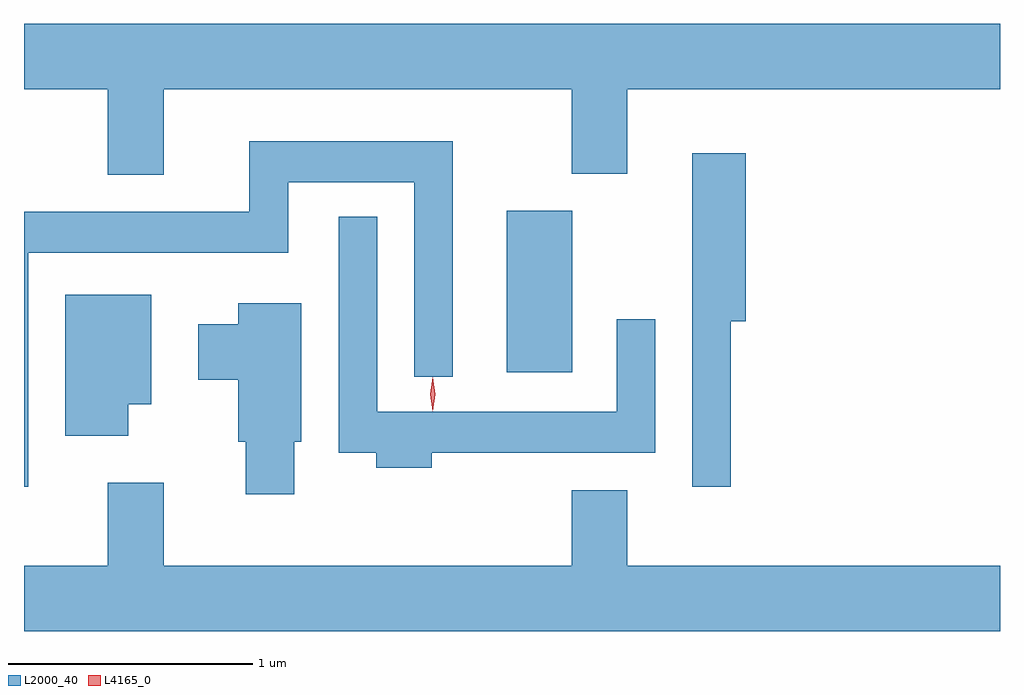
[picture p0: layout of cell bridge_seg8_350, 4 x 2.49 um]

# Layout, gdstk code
import gdstk
lib = gdstk.Library(unit=1e-6, precision=1e-09)
def R(c, l, rs):  # rectangles x0, y0, x1, y1
    for r in rs: c.add(gdstk.rectangle(r[:2], r[2:], *l))
def P(c, l, *ps):  # polygons
    for p in ps: c.add(gdstk.Polygon(p, *l))
L2000_40 = (2000, 40)
L4165_0 = (4165, 0)

bridge_seg8_350 = lib.new_cell('bridge_seg8_350')
R(bridge_seg8_350, L2000_40, [(789.866,1935.156,790.134,1935.819)])
P(bridge_seg8_350, L2000_40, [(788.459,1936.316),(790.131,1936.316),(790.131,1935.971),(790.359,1935.971),(790.359,1936.316),(791.887,1936.316),(791.887,1936.584),(787.887,1936.584),(787.887,1936.316),(788.231,1936.316),(788.231,1935.966),(788.459,1935.966)],
  [(787.904,1935.646),(788.969,1935.646),(788.969,1935.936),(789.486,1935.936),(789.486,1935.138),(789.644,1935.138),(789.644,1936.104),(788.811,1936.104),(788.811,1935.814),(787.887,1935.814),(787.887,1934.688),(787.904,1934.688)],
  [(790.784,1935.366),(790.844,1935.366),(790.844,1936.054),(790.626,1936.054),(790.626,1934.688),(790.784,1934.688)],
  [(789.559,1934.826),(790.474,1934.826),(790.474,1935.373),(790.316,1935.373),(790.316,1934.994),(789.334,1934.994),(789.334,1935.793),(789.176,1935.793),(789.176,1934.826),(789.331,1934.826),(789.331,1934.766),(789.559,1934.766)],
  [(788.314,1935.026),(788.409,1935.026),(788.409,1935.474),(788.056,1935.474),(788.056,1934.896),(788.314,1934.896)],
  [(788.994,1934.871),(789.024,1934.871),(789.024,1935.439),(788.766,1935.439),(788.766,1935.354),(788.601,1935.354),(788.601,1935.126),(788.766,1935.126),(788.766,1934.871),(788.796,1934.871),(788.796,1934.656),(788.994,1934.656)],
  [(791.887,1934.364),(790.359,1934.364),(790.359,1934.674),(790.131,1934.674),(790.131,1934.364),(788.459,1934.364),(788.459,1934.704),(788.231,1934.704),(788.231,1934.364),(787.887,1934.364),(787.887,1934.096),(791.887,1934.096)])
P(bridge_seg8_350, L4165_0, [(789.562,1934.997),(789.562,1934.997),(789.552,1935.067),(789.562,1935.136),(789.562,1935.136),(789.563,1935.136),(789.572,1935.067),(789.563,1934.997)])

lib.write_gds('bridge_seg8_350.gds')
